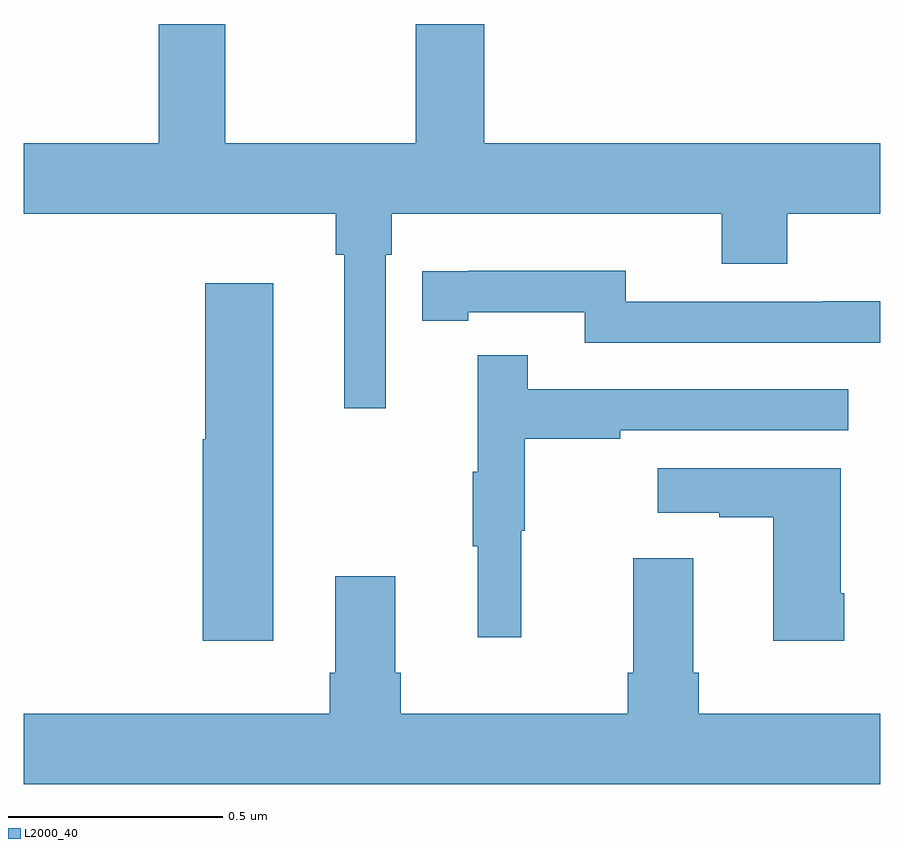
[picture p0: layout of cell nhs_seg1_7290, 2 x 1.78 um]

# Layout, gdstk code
import gdstk
lib = gdstk.Library(unit=1e-6, precision=1e-09)
def P(c, l, *ps):  # polygons
    for p in ps: c.add(gdstk.Polygon(p, *l))
L2000_40 = (2000, 40)

nhs_seg1_7290 = lib.new_cell('nhs_seg1_7290')
P(nhs_seg1_7290, L2000_40, [(203.075,528.199),(202.915,528.199),(202.915,527.92),(202.47,527.92),(202.47,528.199),(202.315,528.199),(202.315,527.92),(202,527.92),(202,527.756),(202.729,527.756),(202.729,527.66),(202.748,527.66),(202.748,527.301),(202.845,527.301),(202.845,527.66),(202.859,527.66),(202.859,527.756),(203.63,527.756),(203.63,527.639),(203.783,527.639),(203.783,527.756),(204,527.756),(204,527.92),(203.075,527.92)],
  [(204,527.552),(203.866,527.552),(203.866,527.55),(203.406,527.55),(203.406,527.623),(203.038,527.623),(203.038,527.622),(202.93,527.622),(202.93,527.506),(203.038,527.506),(203.038,527.526),(203.31,527.526),(203.31,527.454),(204,527.454)],
  [(202.582,527.593),(202.424,527.593),(202.424,527.229),(202.418,527.229),(202.418,526.758),(202.582,526.758)],
  [(203.162,527.016),(203.17,527.016),(203.17,527.23),(203.393,527.23),(203.393,527.25),(203.926,527.25),(203.926,527.346),(203.177,527.346),(203.177,527.425),(203.06,527.425),(203.06,527.153),(203.049,527.153),(203.049,526.979),(203.06,526.979),(203.06,526.767),(203.162,526.767)],
  [(203.916,526.87),(203.908,526.87),(203.908,527.161),(203.481,527.161),(203.481,527.057),(203.624,527.057),(203.624,527.047),(203.75,527.047),(203.75,526.758),(203.916,526.758)],
  [(204,526.588),(203.576,526.588),(203.576,526.684),(203.563,526.684),(203.563,526.951),(203.423,526.951),(203.423,526.684),(203.411,526.684),(203.411,526.588),(202.88,526.588),(202.88,526.684),(202.867,526.684),(202.867,526.909),(202.727,526.909),(202.727,526.684),(202.715,526.684),(202.715,526.588),(202,526.588),(202,526.424),(204,526.424)])

lib.write_gds('nhs_seg1_7290.gds')
